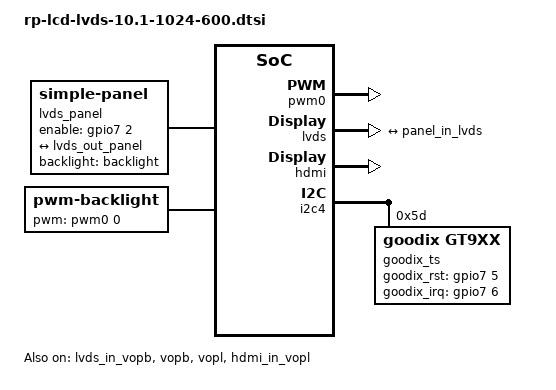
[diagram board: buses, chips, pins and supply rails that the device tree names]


/ {

	display-subsystem {
		status = "okay";

		ports = <&vopb_out>, <&vopl_out>;
		logo-memory-region = <&drm_logo>;

		route {
			route_edp: route-edp {
				status = "disabled";
				logo,uboot = "logo.bmp";
				logo,kernel = "logo.bmp";
				logo,mode = "center";
				charge_logo,mode = "center";
				connect = <&vopb_out_edp>;
			};

			route_dsi0: route-dsi0 {
				status = "disabled";
				logo,uboot = "logo.bmp";
				logo,kernel = "logo.bmp";
				logo,mode = "center";
				charge_logo,mode = "center";
				connect = <&vopb_out_dsi0>;
			};

			route_lvds: route-lvds {
				status = "disabled";
				logo,uboot = "logo.bmp";
				logo,kernel = "logo.bmp";
				logo,mode = "center";
				charge_logo,mode = "center";
				connect = <&vopb_out_lvds>;
			};

			route_hdmi: route-hdmi {
				status = "disabled";
				logo,uboot = "logo.bmp";
				logo,kernel = "logo.bmp";
				logo,mode = "center";
				charge_logo,mode = "center";
				connect = <&vopl_out_hdmi>;
			};
		};
	};
	                
        lvds_panel: lvds-panel {
		status = "okay";
                ports {
                        panel_in_lvds: endpoint {
                                remote-endpoint = <&lvds_out_panel>;
                        };
                };
        };
	
	backlight: backlight {
		status = "okay";
		compatible = "pwm-backlight";
		pwms = <&pwm0 0 25000 0>;
		brightness-levels = <
			  0   1   2   3   4   5   6   7
			  8   9  10  11  12  13  14  15
			 16  17  18  19  20  21  22  23
			 24  25  26  27  28  29  30  31
			 32  33  34  35  36  37  38  39
			 40  41  42  43  44  45  46  47
			 48  49  50  51  52  53  54  55
			 56  57  58  59  60  61  62  63
			 64  65  66  67  68  69  70  71
			 72  73  74  75  76  77  78  79
			 80  81  82  83  84  85  86  87
			 88  89  90  91  92  93  94  95
			 96  97  98  99 100 101 102 103
			104 105 106 107 108 109 110 111
			112 113 114 115 116 117 118 119
			120 121 122 123 124 125 126 127
			128 129 130 131 132 133 134 135
			136 137 138 139 140 141 142 143
			144 145 146 147 148 149 150 151
			152 153 154 155 156 157 158 159
			160 161 162 163 164 165 166 167
			168 169 170 171 172 173 174 175
			176 177 178 179 180 181 182 183
			184 185 186 187 188 189 190 191
			192 193 194 195 196 197 198 199
			200 201 202 203 204 205 206 207
			208 209 210 211 212 213 214 215
			216 217 218 219 220 221 222 223
			224 225 226 227 228 229 230 231
			232 233 234 235 236 237 238 239
			240 241 242 243 244 245 246 247
			248 249 250 251 252 253 254 255>;
		default-brightness-level = <255>;
	};
        //bill
        rpdzkj_config {
                compatible = "rp_config";
                user_version = "rpdzkj";
                system_rotate = "0";
                back_camera_rotate = "0";
                front_camera_rotate = "0";
                lcd_density = "160";
                language = "zh-CN";   //zh-CN //en-US
                time_zone = "Asia/Shanghai"; //Asia/Shanghai = +8   //Europe/London  = +1	//Africa/Casablanca	= +0;
                not_navigation_bar = "false";
                not_status_bar = "false";
                default_launcher = "true";
              	has_root = "true";
                usb_not_permission = "true";  
                usb_camera_only_front = "false";
                gps_use = "false";
                gps_serial_port = "/dev/ttyS4";
				primary_device = "LVDS";
				extend_device = "HDMI-A";
				extend_rotate = "0";
		rotation_efull = "false";
		home_apk = "null";
                status = "okay";
        };
	
};
&pwm0 {
        status = "okay";
};

&lvds {
	status = "okay";
        ports {
                lvds_out: port@1 {
                        reg = <1>;
                        #address-cells = <1>;
                        #size-cells = <0>;

                        lvds_out_panel: endpoint@0 {
                                reg = <0>;
                                remote-endpoint = <&panel_in_lvds>;
                        };
                };
        };
};

&lvds_panel {
        status = "okay";
        compatible ="simple-panel";
        backlight = <&backlight>;
        bus-format = <MEDIA_BUS_FMT_RGB666_1X18>;
        enable-gpios = <&gpio7 2 GPIO_ACTIVE_HIGH>;


        prepare-delay-ms = <100>;
	enable-delay-ms = <100>;

	pinctrl-0 = <&lcd_en>;
        rockchip,data-mapping = "jeida";
        rockchip,data-width = <24>;
        rockchip,output = "lvds";

        display-timings {
                native-mode = <&timing0>;
                timing0: timing0 {
                        clock-frequency = <45000000>;
                        hactive = <1024>;
                        vactive = <600>;
                        hback-porch = <160>;
                        hfront-porch = <160>;
                        vback-porch = <23>;
                        vfront-porch = <12>;
                        hsync-len = <20>;
                        vsync-len = <3>;
                        hsync-active = <0>;
                        vsync-active = <0>;
                        de-active = <0>;
                        pixelclk-active = <0>;
                };
        };
};
&route_lvds {
	status = "okay";
};

&pinctrl {
	lcd {
		lcd_en: lcd-en  {
			rockchip,pins = <7 2 RK_FUNC_GPIO &pcfg_pull_none>;
		};
	};
};
&edp_in_vopl {
        status = "disabled";
};
&dsi0_in_vopl {
        status = "disabled";
};
&dsi1_in_vopl {
        status = "disabled";
};
&lvds_in_vopl {
        status = "disabled";
};

&edp_in_vopb {
        status = "disabled";
};
&dsi0_in_vopb {
        status = "disabled";
};
&dsi1_in_vopb {
        status = "disabled";
};
&lvds_in_vopb {
        status = "okay";
};

&vopb {
	status = "okay";
};

&vopb_mmu {
	status = "okay";
};

&vopl {
	status = "okay";
};

&vopl_mmu {
	status = "okay";
};

&hdmi {
	#address-cells = <1>;
	#size-cells = <0>;
	#sound-dai-cells = <0>;
	status = "okay";
};

&hdmi_in_vopl {
        status = "okay";
};
&hdmi_in_vopb {
        status = "disabled";
};

//TP
&i2c4 {
        status = "okay";

        goodix_ts@5d {
                compatible = "goodix,gt9xx";
                reg = <0x5d>;
		gtp_resolution_x = <1024>;
		gtp_resolution_y = <600>;
		gtp_int_tarigger = <1>;
		gtp_change_x2y = <0>;
		gtp_overturn_x = <0>;
		gtp_overturn_y = <0>;
		gtp_send_cfg = <1>;
		gtp_touch_wakeup = <1>;
                goodix_rst_gpio = <&gpio7 5 GPIO_ACTIVE_HIGH>;
                goodix_irq_gpio = <&gpio7 6 IRQ_TYPE_EDGE_FALLING>;

                goodix,cfg-group0 = [
                        46 00 04 58 02 0A 3D 00 01 08
                        28 05 50 32 03 05 00 00 00 00
                        00 00 00 18 1A 1E 14 8D 2D 88
                        17 15 31 0D 00 00 01 9B 03 1D
                        00 00 00 00 00 00 00 00 00 00
                        00 1E 5A 94 C5 02 08 00 00 00
                        61 21 00 57 29 00 4E 34 00 48
                        41 00 43 51 00 43 00 00 00 00
                        00 00 00 00 00 00 00 00 00 00
                        00 00 00 00 00 00 00 00 00 00
                        00 00 00 00 00 00 00 00 00 00
                        00 00 00 01 04 05 06 07 08 09
                        0C 0D 0E 0F 10 11 14 15 FF FF
                        FF FF 00 00 00 00 00 00 00 00
                        00 00 00 02 04 06 07 08 0A 0C
                        0F 10 11 12 13 19 1B 1C 1E 1F
                        20 21 22 23 24 25 26 27 FF FF
                        FF FF FF FF 00 00 00 00 00 00
                        00 00 00 00 FD 01];
                goodix,cfg-group3 = [
                        46 00 04 58 02 0A 3D 00 01 08
                        28 05 50 32 03 05 00 00 00 00
                        00 00 00 18 1A 1E 14 8D 2D 88
                        17 15 31 0D 00 00 01 9B 03 1D
                        00 00 00 00 00 00 00 00 00 00
                        00 1E 5A 94 C5 02 08 00 00 00
                        61 21 00 57 29 00 4E 34 00 48
                        41 00 43 51 00 43 00 00 00 00
                        00 00 00 00 00 00 00 00 00 00
                        00 00 00 00 00 00 00 00 00 00
                        00 00 00 00 00 00 00 00 00 00
                        00 00 00 01 04 05 06 07 08 09
                        0C 0D 0E 0F 10 11 14 15 FF FF
                        FF FF 00 00 00 00 00 00 00 00
                        00 00 00 02 04 06 07 08 0A 0C
                        0F 10 11 12 13 19 1B 1C 1E 1F
                        20 21 22 23 24 25 26 27 FF FF
                        FF FF FF FF 00 00 00 00 00 00
                        00 00 00 00 FD 01];
                
        };
};
